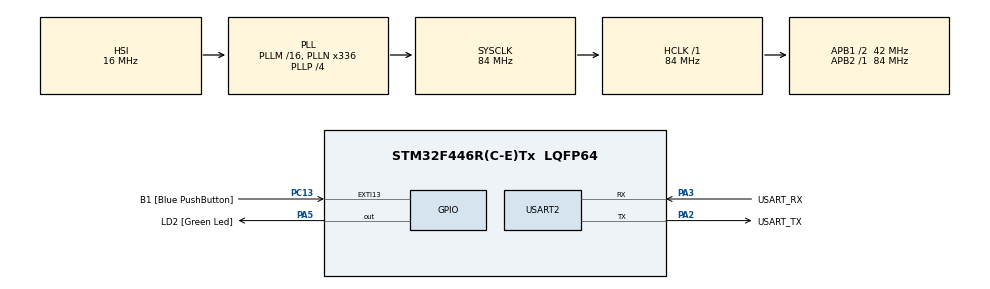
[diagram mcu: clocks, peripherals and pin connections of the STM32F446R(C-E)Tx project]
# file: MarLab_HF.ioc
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Mcu.Family=STM32F4
PH0-OSC_IN.Signal=RCC_OSC_IN
Dma.USART2_RX.1.Priority=DMA_PRIORITY_LOW
RCC.CortexFreq_Value=84000000
Dma.USART2_RX.1.FIFOMode=DMA_FIFOMODE_DISABLE
Dma.USART2_TX.0.MemInc=DMA_MINC_ENABLE
Dma.USART2_TX.0.PeriphDataAlignment=DMA_PDATAALIGN_BYTE
PC13.Signal=GPXTI13
PA14.GPIO_Label=TCK
PC13.GPIO_Label=B1 [Blue PushButton]
RCC.APB1CLKDivider=RCC_HCLK_DIV2
PC14-OSC32_IN.Signal=RCC_OSC32_IN
NVIC.USART2_IRQn=true\:0\:0\:false\:false\:true\:true\:true
Dma.USART2_TX.0.FIFOMode=DMA_FIFOMODE_DISABLE
Dma.USART2_RX.1.MemDataAlignment=DMA_MDATAALIGN_BYTE
RCC.SYSCLKSource=RCC_SYSCLKSOURCE_PLLCLK
ProjectManager.StackSize=0x400
PA13.Signal=SYS_JTMS-SWDIO
PA3.Mode=Asynchronous
Dma.USART2_TX.0.Priority=DMA_PRIORITY_MEDIUM
ProjectManager.TargetToolchain=STM32CubeIDE
NVIC.DMA1_Stream5_IRQn=true\:0\:0\:false\:false\:true\:false\:true
RCC.HCLKFreq_Value=84000000
RCC.APB2TimFreq_Value=84000000
Dma.USART2_RX.1.PeriphInc=DMA_PINC_DISABLE
RCC.USBFreq_Value=168000000
Dma.USART2_RX.1.MemInc=DMA_MINC_ENABLE
RCC.LSE_VALUE=32768
PC15-OSC32_OUT.Signal=RCC_OSC32_OUT
RCC.AHBFreq_Value=84000000
Dma.USART2_RX.1.Instance=DMA1_Stream5
Dma.USART2_RX.1.Direction=DMA_PERIPH_TO_MEMORY
PA5.Signal=GPIO_Output
RCC.HSE_VALUE=8000000
Dma.USART2_RX.1.PeriphDataAlignment=DMA_PDATAALIGN_BYTE
board=NUCLEO-F446RE
RCC.VCOOutputFreq_Value=336000000
RCC.APB2Freq_Value=84000000
PH1-OSC_OUT.Signal=RCC_OSC_OUT
Dma.USART2_TX.0.MemDataAlignment=DMA_MDATAALIGN_BYTE
Dma.USART2_TX.0.Direction=DMA_MEMORY_TO_PERIPH
Mcu.Name=STM32F446R(C-E)Tx
Dma.USART2_TX.0.Instance=DMA1_Stream6
PA2.Signal=USART2_TX
PA13.GPIO_Label=TMS
RCC.FLatency-AdvancedSettings=FLASH_LATENCY_2
PB3.Signal=SYS_JTDO-SWO
RCC.SYSCLKFreq_VALUE=84000000
Mcu.Package=LQFP64
Dma.USART2_TX.0.PeriphInc=DMA_PINC_DISABLE
PA5.GPIO_Label=LD2 [Green Led]
PC13.GPIO_ModeDefaultEXTI=GPIO_MODE_IT_FALLING
USART2.VirtualMode=VM_ASYNC
PA2.GPIO_Label=USART_TX
PA14.Signal=SYS_JTCK-SWCLK
ProjectManager.HeapSize=0x200
RCC.HSI_VALUE=16000000
RCC.PLLP=RCC_PLLP_DIV4
Dma.USART2_TX.0.Mode=DMA_NORMAL
NVIC.PriorityGroup=NVIC_PRIORITYGROUP_0
RCC.PLLN=336
Dma.Request1=USART2_RX
RCC.APB1TimFreq_Value=84000000
PA2.Mode=Asynchronous
Dma.USART2_RX.1.Mode=DMA_NORMAL
Dma.Request0=USART2_TX
NVIC.DMA1_Stream6_IRQn=true\:0\:0\:false\:false\:true\:false\:true
RCC.APB1Freq_Value=42000000
PA3.GPIO_Label=USART_RX
PA3.Signal=USART2_RX
PB3.GPIO_Label=SWO

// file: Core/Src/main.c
/* USER CODE BEGIN Header */
/**
  ******************************************************************************
  * @file           : main.c
  * @brief          : Main program body
  ******************************************************************************
  * @attention
  *
  * <h2><center>&copy; Copyright (c) 2021 STMicroelectronics.
  * All rights reserved.</center></h2>
  *
  * This software component is licensed by ST under BSD 3-Clause license,
  * the "License"; You may not use this file except in compliance with the
  * License. You may obtain a copy of the License at:
  *                        opensource.org/licenses/BSD-3-Clause
  *
  ******************************************************************************
  */
/* USER CODE END Header */
#include "main.h"

/* USER CODE BEGIN Includes */
#include "stdbool.h"
/* USER CODE END Includes */

UART_HandleTypeDef huart2;
DMA_HandleTypeDef hdma_usart2_tx;
DMA_HandleTypeDef hdma_usart2_rx;

/* USER CODE BEGIN PV */
// Bejövő adatok buffere
char buffer_in[68];
// Változó a bejövő parancsnak
char command_in[68];
// Változó (és egyben buffer) a kimenő parancshoz
char command_out[68];
// A frame-eket tároló tömb
bool frames[250][64] = { false };
// Flag, ami jelzi, hogy lejátszásra kész-e az animáció
bool animation_ready = false;
// Flag, ami jelzi, hogy éppen feltöltés alatt van-e egy animáció
bool incoming_animation = false;
// Flag, ami jelzi, hogy éppen parancs érkezett, amit le kell kezelni
bool command_in_to_handle = false;
// A tárolt animáció frame-jeinek száma
int frame_number = 0;
// Éppen elmentett frame-ek száma (mentés során fontos)
int frames_saved = 0;
// Jelenleg hanyadik frame-nél tartunk
int current_frame = 0;
// Változó a lejátszás sebességéhez
int time = 1000;
/* USER CODE END PV */

void SystemClock_Config(void);
static void MX_GPIO_Init(void);
static void MX_DMA_Init(void);
static void MX_USART2_UART_Init(void);

/* USER CODE BEGIN 0 */
void frames_to_command(char* c)
{
	// Függvény, ami az aktuális frame-et paranccsá alakítja

	// Az első karaktere egy '/' jel, ami azt jelzi, hogy parancs érkezett
	c[0] = '/';
	// Majd végigmegyünk a frame 64 db pixelén
	for (int i = 0; i < 64; i++)
	{
		// És ha a frame adott pixele igaz tárolt értékű
		if (frames[current_frame][i])
			// Akkor a parancsba 1-est állítunk be
			c[i + 1] = '1';
		// Ellenkező esetben pedig 0-t
		else
			c[i + 1] = '0';
	}
	// Nem feledkezünk el a sorvége és a lezáró karakterekről sem
	c[65] = '\r';
	c[66] = '\n';
	c[67] = '\0';
}

void handle_command()
{
	// Függvény, ami jelekezeli a beérkezett parancsot

	// Hogyha frame-ekre vonatkozó parancs jött be és azok közül is az első
	// (ez tartalmazza, hogy hány tovább valódi frame fog beérkezni)
	if (command_in[0] == '/' && !incoming_animation)
	{
		// Akkor az animációnk inenntől nem kész a lejátszásra
		animation_ready = false;
		// Ugyanis éppen töltünk le egy új animációt
		incoming_animation = true;
		// Bekérjük a beérkező frame-ek számát
		sscanf(command_in, "/%d\r\n", &frame_number);
		// És beállítjuk, hogy jelenleg 0 frame van elmentve ezekből
		frames_saved = 0;
	}
	// Hogyha frame-ekre vonatkozó parancs érkezik, de már nem az első
	else if (command_in[0] == '/' && incoming_animation)
	{
		// Akkor végigmegyünk a parancson (frame pixeljein)
		for (int i = 1; i < 65; i++)
		{
			// És ha a parancs adott bitje 0
			if (command_in[i] == '0')
				// Akkor hamis értéket mentünk el a pixelhez
				frames[frames_saved][i - 1] = false;
			// Hogyha pedig az adott bit 1-es
			else if (command_in[i] == '1')
				// Akkor igaz értéket mentünk el a pixelhez
				frames[frames_saved][i - 1] = true;
		}
		// Egy újabb frame elémentésre került
		frames_saved++;

		// Hogyha már megvagyunk minden frame-mel
		if (frames_saved == frame_number)
		{
			// Akkor az animációnk észen áll a lejátszásra
			animation_ready = true;
			// És már nincsen letöltés
			incoming_animation = false;
			// És kezdjük a legjátszást a legelső frame-től
			current_frame = 0;
		}
	}
	// Hogyha az első gombot nyomták meg
	else if (!strcmp(command_in, "b0\r\n"))
		// Akkor 1 FPS-nek megfelelő időt állítunk be
		time = 1000;
	// Hogyha a második gombot nyomták meg
	else if (!strcmp(command_in, "b1\r\n"))
		// Akkor 10 FPS-nek megfelelő időt állítunk be
		time = 100;
	// Hogyha a harmadik gombot nyomták meg
	else if (!strcmp(command_in, "b2\r\n"))
		// Akkor 25 FPS-nek megfelelő időt állítunk be
		time = 40;
	// Hogyha a negyedik gombot nyomták meg
	else if (!strcmp(command_in, "b3\r\n"))
		// Akkor 30.3 FPS-nek megfelelő időt állítunk be
		time = 33;
}

void send_frame()
{
	// Függvény, mi kiküldi a jelenlegi frame parancsát

	// Először is elkészítjük a parancsot
	frames_to_command(command_out);
	// Majd kiküldjük az UART-on
	HAL_UART_Transmit_DMA(&huart2, (uint8_t*)command_out, 68);

	// Hogyha az utolsó frame-nél voltunk
	if (current_frame == frame_number - 1)
		// Akkor ugrunk az első frame-re
		current_frame = 0;
	else
		// Egyébként csak a következőre
		current_frame++;
}
/* USER CODE END 0 */

int main(void)
{

  /* MCU Configuration--------------------------------------------------------*/

  /* Reset of all peripherals, Initializes the Flash interface and the Systick. */
  HAL_Init();

  /* Configure the system clock */
  SystemClock_Config();

  /* Initialize all configured peripherals */
  MX_GPIO_Init();
  MX_DMA_Init();
  MX_USART2_UART_Init();
  /* USER CODE BEGIN 2 */
  // Elindítjuk a fogadást UART-on keresztül DMA segítségével
  HAL_UART_Receive_DMA(&huart2, (uint8_t*)buffer_in, 68);

  /* USER CODE END 2 */

  /* Infinite loop */
  /* USER CODE BEGIN WHILE */
  while (1)
  {
	  // Hogyha parancsunk van, amit le kell kezelni
	  if (command_in_to_handle)
	  {
		  // Akkor meghívjuk az erre hivatott függvényt
		  handle_command();
		  // És a flag-et reset-eljük
		  command_in_to_handle = false;
	  }
	  // Hogyha viszont az animáció kész a lejátszásra
	  else if (animation_ready)
	  {
		  // Akkor kiküldjük a jelenlegi frame-et
		  send_frame();
		  // És várunk annyi időt, hogy az a beállított FPS értéknek megfeleljen
		  HAL_Delay(time);
	  }
    /* USER CODE END WHILE */

  }
}

void SystemClock_Config(void)
{
  RCC_OscInitTypeDef RCC_OscInitStruct = {0};
  RCC_ClkInitTypeDef RCC_ClkInitStruct = {0};

  /** Configure the main internal regulator output voltage
  */
  __HAL_RCC_PWR_CLK_ENABLE();
  __HAL_PWR_VOLTAGESCALING_CONFIG(PWR_REGULATOR_VOLTAGE_SCALE3);
  /** Initializes the RCC Oscillators according to the specified parameters
  * in the RCC_OscInitTypeDef structure.
  */
  RCC_OscInitStruct.OscillatorType = RCC_OSCILLATORTYPE_HSI;
  RCC_OscInitStruct.HSIState = RCC_HSI_ON;
  RCC_OscInitStruct.HSICalibrationValue = RCC_HSICALIBRATION_DEFAULT;
  RCC_OscInitStruct.PLL.PLLState = RCC_PLL_ON;
  RCC_OscInitStruct.PLL.PLLSource = RCC_PLLSOURCE_HSI;
  RCC_OscInitStruct.PLL.PLLM = 16;
  RCC_OscInitStruct.PLL.PLLN = 336;
  RCC_OscInitStruct.PLL.PLLP = RCC_PLLP_DIV4;
  RCC_OscInitStruct.PLL.PLLQ = 2;
  RCC_OscInitStruct.PLL.PLLR = 2;
  if (HAL_RCC_OscConfig(&RCC_OscInitStruct) != HAL_OK)
  {
    Error_Handler();
  }
  /** Initializes the CPU, AHB and APB buses clocks
  */
  RCC_ClkInitStruct.ClockType = RCC_CLOCKTYPE_HCLK|RCC_CLOCKTYPE_SYSCLK
                              |RCC_CLOCKTYPE_PCLK1|RCC_CLOCKTYPE_PCLK2;
  RCC_ClkInitStruct.SYSCLKSource = RCC_SYSCLKSOURCE_PLLCLK;
  RCC_ClkInitStruct.AHBCLKDivider = RCC_SYSCLK_DIV1;
  RCC_ClkInitStruct.APB1CLKDivider = RCC_HCLK_DIV2;
  RCC_ClkInitStruct.APB2CLKDivider = RCC_HCLK_DIV1;

  if (HAL_RCC_ClockConfig(&RCC_ClkInitStruct, FLASH_LATENCY_2) != HAL_OK)
  {
    Error_Handler();
  }
}

static void MX_USART2_UART_Init(void)
{

  huart2.Instance = USART2;
  huart2.Init.BaudRate = 115200;
  huart2.Init.WordLength = UART_WORDLENGTH_8B;
  huart2.Init.StopBits = UART_STOPBITS_1;
  huart2.Init.Parity = UART_PARITY_NONE;
  huart2.Init.Mode = UART_MODE_TX_RX;
  huart2.Init.HwFlowCtl = UART_HWCONTROL_NONE;
  huart2.Init.OverSampling = UART_OVERSAMPLING_16;
  if (HAL_UART_Init(&huart2) != HAL_OK)
  {
    Error_Handler();
  }

}

static void MX_DMA_Init(void)
{

  /* DMA controller clock enable */
  __HAL_RCC_DMA1_CLK_ENABLE();

  /* DMA interrupt init */
  /* DMA1_Stream5_IRQn interrupt configuration */
  HAL_NVIC_SetPriority(DMA1_Stream5_IRQn, 0, 0);
  HAL_NVIC_EnableIRQ(DMA1_Stream5_IRQn);
  /* DMA1_Stream6_IRQn interrupt configuration */
  HAL_NVIC_SetPriority(DMA1_Stream6_IRQn, 0, 0);
  HAL_NVIC_EnableIRQ(DMA1_Stream6_IRQn);

}

static void MX_GPIO_Init(void)
{
  GPIO_InitTypeDef GPIO_InitStruct = {0};

  /* GPIO Ports Clock Enable */
  __HAL_RCC_GPIOC_CLK_ENABLE();
  __HAL_RCC_GPIOH_CLK_ENABLE();
  __HAL_RCC_GPIOA_CLK_ENABLE();
  __HAL_RCC_GPIOB_CLK_ENABLE();

  /*Configure GPIO pin Output Level */
  HAL_GPIO_WritePin(LD2_GPIO_Port, LD2_Pin, GPIO_PIN_RESET);

  /*Configure GPIO pin : B1_Pin */
  GPIO_InitStruct.Pin = B1_Pin;
  GPIO_InitStruct.Mode = GPIO_MODE_IT_FALLING;
  GPIO_InitStruct.Pull = GPIO_NOPULL;
  HAL_GPIO_Init(B1_GPIO_Port, &GPIO_InitStruct);

  /*Configure GPIO pin : LD2_Pin */
  GPIO_InitStruct.Pin = LD2_Pin;
  GPIO_InitStruct.Mode = GPIO_MODE_OUTPUT_PP;
  GPIO_InitStruct.Pull = GPIO_NOPULL;
  GPIO_InitStruct.Speed = GPIO_SPEED_FREQ_LOW;
  HAL_GPIO_Init(LD2_GPIO_Port, &GPIO_InitStruct);

}

/* USER CODE BEGIN 4 */
void HAL_UART_RxCpltCallback(UART_HandleTypeDef *huart)
{
	// Callback függvény, ami akkor hívódik meg, ha sikeresen érkezett adat az UART-on

	// A bemeneti buffert gyorsan elmentjük
	strcpy(command_in, buffer_in);
	// Beállítjuk a flag-et, ami jelzi, hogy érkezett parancs
	command_in_to_handle = true;

	// Majd engedélyezzük a következő üzenet beérkezését is
	HAL_UART_Receive_DMA(&huart2, (uint8_t*)buffer_in, 68);
}
/* USER CODE END 4 */

void Error_Handler(void)
{
  __disable_irq();
  while (1)
  {
  }
}

/************************ (C) COPYRIGHT STMicroelectronics *****END OF FILE****/
